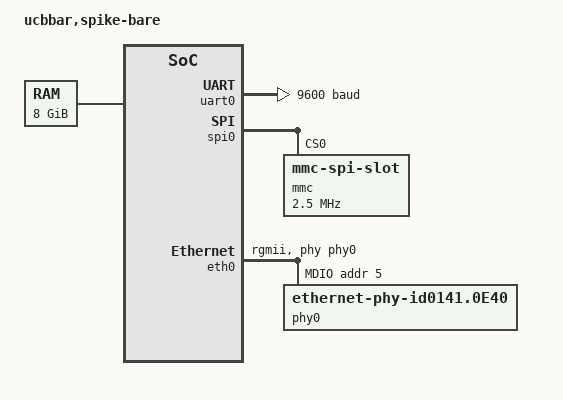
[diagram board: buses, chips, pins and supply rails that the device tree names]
/* 
* SPDX-License-Identifier: GPL-2.0+
*
* Copyright (c) 2019-2022 UltraRisc,Inc
*
* Authors:
*   Yantong Wang <wangyantong@ultrarisc.com>
*/

/dts-v1/;

/ {
	#address-cells = <0x02>;
	#size-cells = <0x02>;
	compatible = "ucbbar,spike-bare-dev";
	model = "ucbbar,spike-bare";

	chosen {
		bootargs = "earlycon=sbi console=ttyS0,9600 root=/dev/mmcblk0p2 rw rootfstype=ext4 rootwait";
		stdout-path = "/soc/uart0@20300000:9600";
	};

	cpus {
		#address-cells = <0x01>;
		#size-cells = <0x00>;
		timebase-frequency = <7000000>;

		cpu@0 {
			device_type = "cpu";
			reg = <0x00>;
			status = "okay";
			compatible = "riscv";
			riscv,isa = "rv64imafdcb";
			mmu-type = "riscv,sv39";

			clock-frequency = <6000000>;

			cpu0_intc:interrupt-controller {
				#address-cells = <0x01>;
				interrupt-controller;
				compatible = "riscv,cpu-intc";
				#interrupt-cells = <0x01>;
			};
		};
	};

	memory@80000000 {
		device_type = "memory";
		reg = <0x00 0x80000000 0x02 0x00>;
	};

	soc {
		#address-cells = <0x02>;
		#size-cells = <0x02>;
		compatible = "ucbbar,spike-bare-soc\0simple-bus";
		ranges;

		clocks {
			compatible = "simple-bus";
			u-boot,dm-pre-reloc;
			spiclk: spiclk {
				compatible = "fixed-clock";
				clock-frequency = <6000000>;
				#clock-cells = <0>;
			};
			gmacclk: gmacclk{
				compatible = "fixed-clock";
				clock-frequency = <6000000>;
				#clock-cells = <0>;
			};
			gmac0clk_tx: gmac0clk_tx{
				compatible = "fixed-clock";
				clock-frequency = <25000000>;
				#clock-cells = <0>;
			};

		};

		clint@8000000 {
			compatible = "riscv,clint0";
			interrupts-extended = <&cpu0_intc 0x03>, <&cpu0_intc 0x07>;
			reg = <0x00 0x8000000 0x00 0xc0000>;
		};

		plic@c000000 {
			#interrupt-cells = <0x01>;
			#address-cells = <0x02>;
			phandle = <0x01>;
			compatible = "riscv,plic0";
			interrupt-controller;
			interrupts-extended = <&cpu0_intc 0xb>, <&cpu0_intc 0x9>, <&cpu0_intc 0xffffffff>;
			reg = <0x00 0xc000000 0x00 0x4000000>;
			riscv,max-priority = <0x07>;
			riscv,ndev = <0x0a>;
		};

		uart0: serial@20300000 {
			interrupt-parent = <0x01>;
			interrupts = <0x01>;
			clock-frequency = <6000000>;
			current-speed = <9600>;
			reg = <0x00 0x20300000 0x00 0x10000>;
			compatible = "ns16550a";
			reg-offset = <0x1000>;
			reg-shift = <0x02>;
		};

		spi0: spi@20320000 {
			compatible = "baikal,bt1-ssi";
			#address-cells = <0x01>;
			#size-cells = <0x00>;
			reg = <0x0 0x20320000 0x0 0x1000>;
			interrupt-parent = <0x01>;
			interrupts = <0x02>;
			clocks = <&spiclk>;
			clock-names = "ssi_clk";
			num-cs = <3>;
			spi-max-frequency = <2500000>;
			mmc@0 {
				compatible = "mmc-spi-slot";
				spi-max-frequency = <2500000>;
				reg = <0x00>;
				voltage-ranges = <3300 3300>;
				disable-wp;
			};
		};

		eth0:eth@38000000 {
				compatible = "snps,dwc-qos-ethernet-4.10";
				clocks = <&gmacclk>, <&gmac0clk_tx>;
				clock-names = "gmac_clk", "gmac-clk-tx", "gmac-clk-rx";
				interrupt-parent = <0x01>;
				interrupts = <0x3>;
				reg = <0x0 0x38000000 0x0 0x4000>;
				phy-handle = <&phy0>;
				local-mac-address = [00 18 3e 02 e3 e5];
				phy-mode = "rgmii";
				snps,en-tx-lpi-clockgating;
				snps,en-lpi;
				snps,write-requests = <2>;
				snps,read-requests = <16>;
				snps,burst-map = <0x7>;
				snps,txpbl = <8>;
				snps,rxpbl = <2>;
				mdio {
						#address-cells = <0x1>;
						#size-cells = <0x0>;
						phy0: phy@0 {
								max-speed = <100>;
								compatible = "ethernet-phy-id0141.0E40";
								device_type = "ethernet-phy";
								phy-mode = "rgmii";
								status = "okay";
								phandle = <0x04>;
								reg = <0x5>;//19P
								//reg = <0x17>;//e4000t
						};
				};
		};
	};		
};
